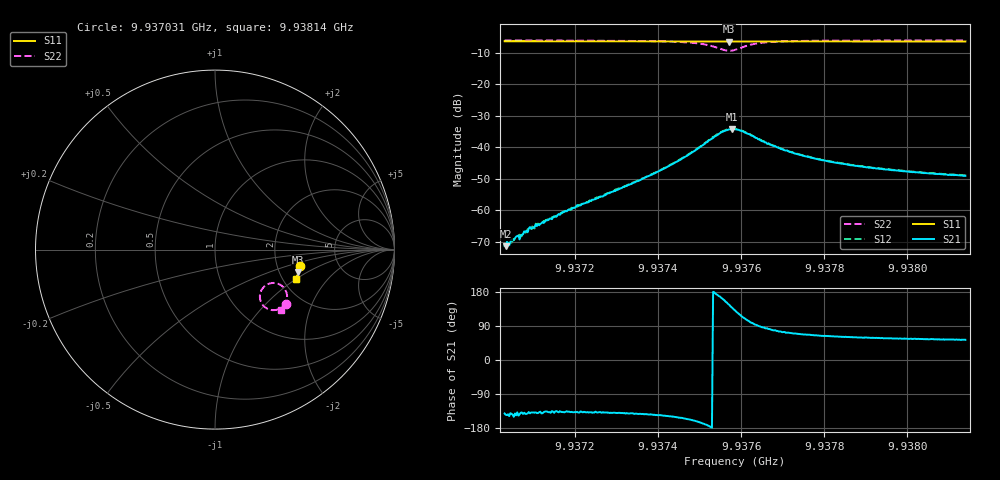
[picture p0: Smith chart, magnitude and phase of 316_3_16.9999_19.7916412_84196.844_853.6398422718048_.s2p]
#  HZ  S  RI  R  50.00
! Rohde & Schwarz Vector Network Analyzer
! Rohde-Schwarz,ZNB20-2Port,1311601062101988,3.16
! Created: UTC 3/20/2024, 11:06:13 PM
! freq[Hz]  re:S11  im:S11  re:S21  im:S21  re:S12  im:S12  re:S22  im:S22
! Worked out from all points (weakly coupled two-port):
!   401 points, 9.937031 GHz to 9.93814 GHz, reference 50 ohm
!   highest |S21| = -34.11 dB at 9.937577 GHz (marker M1); lowest = -71.3 dB at 9.937034 GHz (marker M2)
!   lowest |S11| = -6.4 dB at 9.937572 GHz (marker M3), VSWR 2.85, Z = 127 - j41.1 ohm
!   |S11| at or under -10 dB: nowhere
!   |S22| runs from -9.3 to -6.0 dB; largest |S21 - S12| = 0.00081
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9.9370313e9  0.4761 -0.09  -0.000214 -0.000172  -0.00024 -0.000176  0.3971 -0.3014
9.937034e9  0.4762 -0.0902  -0.000222 -0.000157  -0.000219 -0.000171  0.3969 -0.3015
9.9370423e9  0.4759 -0.0906  -0.000238 -0.000149  -0.000247 -0.000177  0.3964 -0.3023
9.937059e9  0.4758 -0.0919  -0.000318 -0.000215  -0.000303 -0.000203  0.3952 -0.3032
9.93707e9  0.4755 -0.0927  -0.000299 -0.00026  -0.000313 -0.000252  0.3945 -0.304
9.937095e9  0.4749 -0.0943  -0.000385 -0.000339  -0.000368 -0.000334  0.3928 -0.306
9.9371781e9  0.4734 -0.0998  -0.000717 -0.000675  -0.000734 -0.000663  0.3861 -0.3123
9.9372169e9  0.4727 -0.1026  -0.000916 -0.000864  -0.000937 -0.00086  0.3822 -0.3155
9.9374025e9  0.469 -0.1152  -0.00348 -0.00238  -0.00355 -0.00234  0.3511 -0.3332
9.9374524e9  0.4676 -0.1185  -0.00559 -0.00294  -0.00573 -0.00289  0.3312 -0.3371
9.9375106e9  0.4657 -0.1223  -0.011 -0.00227  -0.0112 -0.00203  0.286 -0.326
9.9375466e9  0.4643 -0.1243  -0.0161 0.00326  -0.0164 0.00364  0.2515 -0.2769
9.9375716e9  0.4634 -0.1249  -0.016 0.011  -0.0157 0.0117  0.2659 -0.2152
9.9375771e9  0.4634 -0.1251  -0.0149 0.0129  -0.0146 0.0135  0.2767 -0.2037
9.9375854e9  0.4636 -0.1254  -0.0127 0.0148  -0.0124 0.0154  0.297 -0.1915
9.9376159e9  0.4638 -0.127  -0.00406 0.016  -0.00369 0.0163  0.3648 -0.1966
9.9376436e9  0.4638 -0.1291  0.000166 0.0134  0.000377 0.0135  0.3925 -0.2255
9.9377018e9  0.4629 -0.1332  0.00257 0.00882  0.00273 0.0089  0.4017 -0.2679
9.9377711e9  0.4613 -0.1381  0.0028 0.00623  0.00297 0.0062  0.3963 -0.2921
9.9378625e9  0.4592 -0.1442  0.0026 0.00454  0.00271 0.00456  0.3878 -0.3091
9.9379567e9  0.4569 -0.1502  0.00242 0.00373  0.00251 0.00372  0.3803 -0.32
9.9381396e9  0.452 -0.1621  0.00212 0.00285  0.0022 0.00285  0.3675 -0.3352
